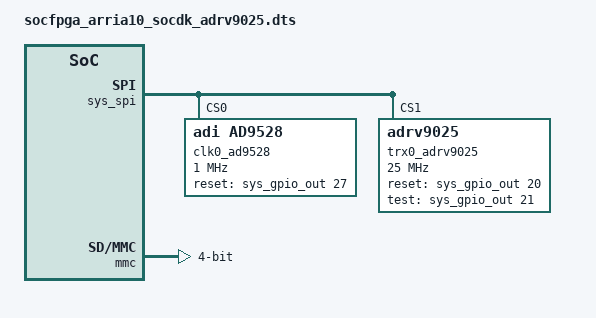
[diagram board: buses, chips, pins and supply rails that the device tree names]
// SPDX-License-Identifier: GPL-2.0
/*
 * Analog Devices ADRV9025
 * https://wiki.analog.com/resources/eval/user-guides/adrv9025
 * https://wiki.analog.com/resources/tools-software/linux-drivers/iio-transceiver/adrv9025
 * https://wiki.analog.com/resources/tools-software/linux-software/adrv9025_advanced_plugin
 *
 * hdl_project: <adrv9026/a10soc>
 * board_revision: <>
 *
 * Copyright (C) 2024 Analog Devices Inc.
 */
/dts-v1/;
#include "socfpga_arria10_socdk.dtsi"
#include <dt-bindings/iio/frequency/ad9528.h>
#include <dt-bindings/iio/adc/adi,adrv9025.h>

&mmc {
	status = "okay";
	num-slots = <1>;
	cap-sd-highspeed;
	broken-cd;
	bus-width = <4>;
	altr,dw-mshc-ciu-div = <3>;
	altr,dw-mshc-sdr-timing = <0 3>;
};

/ {
	clocks {
		sys_clk: sys_clk {
			#clock-cells = <0>;
			compatible = "fixed-clock";
			clock-frequency = <100000000>;
			clock-output-names = "system_clock";
		};

		dma_clk: dma_clk {
			#clock-cells = <0x0>;
			compatible = "fixed-clock";
			clock-frequency = <250000000>;
			clock-output-names = "dma_clk";
		};
	};

	soc {
		sys_hps_bridges: bridge@ff200000 {
			compatible = "simple-bus";
			reg = <0xff200000 0x00200000>;
			#address-cells = <1>;
			#size-cells = <1>;
			ranges = <0x00000000 0xff200000 0x00200000>;

			axi_sysid_0: axi-sysid-0@18000 {
				compatible = "adi,axi-sysid-1.00.a";
				reg = <0x00018000 0x8000>;
			};

			sys_gpio_out: gpio@20 {
				compatible = "altr,pio-1.0";
				reg = <0x00000020 0x00000010>;
				resetvalue = <0>;
				#gpio-cells = <2>;
				gpio-controller;
			};

			sys_spi: spi@40 {
				compatible = "altr,spi-1.0";
				reg = <0x00000040 0x00000020>;
				interrupt-parent = <&intc>;
				interrupts = <0 26 4>;
				#address-cells = <0x1>;
				#size-cells = <0x0>;

				clk0_ad9528: ad9528-1@0 {
					compatible = "adi,ad9528";
					reg = <0>;

					#address-cells = <1>;
					#size-cells = <0>;

					spi-max-frequency = <1000000>;
					//adi,spi-3wire-enable;

					reset-gpios = <&sys_gpio_out 27 0>;

					clock-output-names = "ad9528-1_out0", "ad9528-1_out1", "ad9528-1_out2",
						"ad9528-1_out3", "ad9528-1_out4", "ad9528-1_out5", "ad9528-1_out6",
						"ad9528-1_out7", "ad9528-1_out8", "ad9528-1_out9", "ad9528-1_out10",
						"ad9528-1_out11", "ad9528-1_out12", "ad9528-1_out13";
					#clock-cells = <1>;

					jesd204-device;
					#jesd204-cells = <2>;
					jesd204-sysref-provider;

					adi,vcxo-freq = <122880000>;

					adi,refa-enable;
					adi,refa-diff-rcv-enable;
					adi,refa-r-div = <1>;

					/* PLL1 config */
					adi,pll1-feedback-div = <4>;
					adi,pll1-charge-pump-current-nA = <5000>;

					/* PLL2 config */
					adi,pll2-vco-div-m1 = <3>; /* use 5 for 184320000 output device clock */
					adi,pll2-n2-div = <10>; /* N / M1 */
					adi,pll2-r1-div = <1>;
					adi,pll2-charge-pump-current-nA = <805000>;

					/* SYSREF config */
					adi,sysref-src = <SYSREF_SRC_INTERNAL>;
					adi,sysref-pattern-mode = <SYSREF_PATTERN_CONTINUOUS>;
					adi,sysref-k-div = <512>;
					adi,jesd204-desired-sysref-frequency-hz = <3840000>;

					adi,rpole2 = <RPOLE2_900_OHM>;
					adi,rzero = <RZERO_1850_OHM>;
					adi,cpole1 = <CPOLE1_16_PF>;

					adi,status-mon-pin0-function-select = <1>; /* PLL1 & PLL2 Locked */
					adi,status-mon-pin1-function-select = <7>; /* REFA Correct */

					ad9528_0_c0: channel@0 {
						reg = <0>;
						adi,extended-name = "DEV_SYSREF";
						adi,driver-mode = <DRIVER_MODE_LVDS>;
						adi,divider-phase = <0>;
						adi,channel-divider = <5>;
						adi,signal-source = <SOURCE_SYSREF_VCO>;
					};

					ad9528_0_c1: channel@1 {
						reg = <1>;
						adi,extended-name = "DEV_CLK";
						adi,driver-mode = <DRIVER_MODE_LVDS>;
						adi,divider-phase = <0>;
						adi,channel-divider = <5>;
						adi,signal-source = <SOURCE_VCO>;
						adi,output-dis;
					};

					ad9528_0_c3: channel@3 {
						reg = <3>;
						adi,extended-name = "CORE_CLK";
						adi,driver-mode = <DRIVER_MODE_LVDS>;
						adi,divider-phase = <0>;
						adi,channel-divider = <5>;
						adi,signal-source = <SOURCE_VCO>;
						adi,output-dis;
					};

					ad9528_0_c12: channel@12 {
						reg = <12>;
						adi,extended-name = "FMC_SYSREF";
						adi,driver-mode = <DRIVER_MODE_LVDS>;
						adi,divider-phase = <0>;
						adi,channel-divider = <5>;
						adi,signal-source = <SOURCE_SYSREF_VCO>;
					};

					ad9528_0_c13: channel@13 {
						reg = <13>;
						adi,extended-name = "FMC_CLK";
						adi,driver-mode = <DRIVER_MODE_LVDS>;
						adi,divider-phase = <0>;
						adi,channel-divider = <5>;
						adi,signal-source = <SOURCE_VCO>;
						adi,output-dis;
					};
				};

				trx0_adrv9025: adrv9025-phy@1 {
					compatible = "adrv9025";
					reg = <1>;

					#address-cells = <1>;
					#size-cells = <0>;

					/* SPI Setup */
					spi-max-frequency = <25000000>;

					reset-gpios = <&sys_gpio_out 20 0>;
					test-gpios = <&sys_gpio_out 21 0>;

					/* Clocks */
					clocks = <&clk0_ad9528 1>;

					clock-names = "dev_clk";

					clock-output-names = "rx_sampl_clk", "tx_sampl_clk";
					#clock-cells = <1>;

					jesd204-device;
					#jesd204-cells = <2>;
					jesd204-top-device = <0>; /* This is the TOP device */
					jesd204-link-ids = <DEFRAMER0_LINK_TX FRAMER0_LINK_RX>;

					jesd204-inputs =
						<&axi_adrv9025_rx_jesd 0 FRAMER0_LINK_RX>,
						<&axi_adrv9025_core_tx 0 DEFRAMER0_LINK_TX>;

					adi,device-profile-name = "ActiveUseCase.profile";
					adi,init-profile-name = "ActiveUtilInit.profile";
					adi,arm-firmware-name = "ADRV9025_FW.bin;ADRV9025_DPDCORE_FW.bin";
					adi,stream-firmware-name = "stream_image_6E3E00EFB74FE7D465FA88A171B81B8F.bin";
					adi,rx-gaintable-names = "ADRV9025_RxGainTable.csv";
					adi,rx-gaintable-channel-masks = <0xFF>;
					adi,tx-attntable-names = "ADRV9025_TxAttenTable.csv";
					adi,tx-attntable-channel-masks = <0x0F>;
				};

			};

			axi_adrv9025_adxcvr_tx: axi-adxcvr-tx@24000 {
				compatible = "adi,altera-adxcvr-1.00.a";
				reg = <0x00024000 0x00001000>,
					<0x00028000 0x00001000>,
					<0x0002a000 0x00001000>,
					<0x0002c000 0x00001000>,
					<0x0002e000 0x00001000>,
					<0x00030000 0x00001000>;
				reg-names = "adxcvr", "atx-pll", "adxcfg-0", "adxcfg-1", "adxcfg-2", "adxcfg-3";

				clocks = <&clk0_ad9528 13>, <&clk0_ad9528 3>;
				clock-names = "ref", "link";

				#clock-cells = <0>;
				clock-output-names = "jesd204_tx_lane_clock";

				jesd204-device;
				#jesd204-cells = <2>;
				jesd204-inputs =  <&clk0_ad9528 0 DEFRAMER0_LINK_TX>;
			};

			axi_adrv9025_adxcvr_rx: axi-adxcvr-rx@34000 {
				compatible = "adi,altera-adxcvr-1.00.a";
				reg = <0x00044000 0x00001000>,
					<0x00048000 0x00001000>,
					<0x0004a000 0x00001000>,
					<0x00058000 0x00001000>,
					<0x0005a000 0x00001000>;
				reg-names = "adxcvr", "adxcfg-0", "adxcfg-1", "adxcfg-2", "adxcfg-3";

				clocks = <&clk0_ad9528 13>, <&clk0_ad9528 3>;
				clock-names = "ref", "link";

				#clock-cells = <0>;
				clock-output-names = "jesd204_rx_lane_clock";

				jesd204-device;
				#jesd204-cells = <2>;
				jesd204-inputs =  <&clk0_ad9528 0 FRAMER0_LINK_RX>;
			};

			axi_adrv9025_tx_jesd: axi-jesd204-tx@20000 {
				compatible = "adi,axi-jesd204-tx-1.0";
				reg = <0x00020000 0x4000>;

				interrupt-parent = <&intc>;
				interrupts = <0 33 4>;

				clocks = <&sys_clk>, <&clk0_ad9528 3>, <&axi_adrv9025_adxcvr_tx 0>;
				clock-names = "s_axi_aclk", "device_clk", "lane_clk";

				#clock-cells = <0>;
				clock-output-names = "jesd_tx_lane_clk";

				jesd204-device;
				#jesd204-cells = <2>;
				jesd204-inputs = <&axi_adrv9025_adxcvr_tx 0 DEFRAMER0_LINK_TX>;

			};

			axi_adrv9025_rx_jesd: axi-jesd204-rx@40000 {
				compatible = "adi,axi-jesd204-rx-1.0";
				reg = <0x00040000 0x4000>;

				interrupt-parent = <&intc>;
				interrupts = <0 32 4>;

				clocks = <&sys_clk>, <&clk0_ad9528 3>, <&axi_adrv9025_adxcvr_rx 0>;
				clock-names = "s_axi_aclk", "device_clk", "lane_clk";

				#clock-cells = <0>;
				clock-output-names = "jesd_rx_lane_clk";

				jesd204-device;
				#jesd204-cells = <2>;
				jesd204-inputs = <&axi_adrv9025_adxcvr_rx 0 FRAMER0_LINK_RX>;
			};

			axi_adrv9025_core_tx: axi-adrv9025-tx-hpc@64000 {
				compatible = "adi,axi-adrv9025-tx-1.0";
				reg = <0x00064000 0x4000>;
				dmas = <&tx_dma 0>;
				dma-names = "tx";
				clocks = <&trx0_adrv9025 1>;
				clock-names = "sampl_clk";

				jesd204-device;
				#jesd204-cells = <2>;
				jesd204-inputs = <&axi_adrv9025_tx_jesd 0 DEFRAMER0_LINK_TX>;
			};

			axi_adrv9025_core_rx: axi-adrv9025-rx-hpc@60000 {
				compatible = "adi,axi-adc-10.0.a";
				reg = <0x00060000 0x8000>;
				dmas = <&rx_dma 0>;
				dma-names = "rx";
				spibus-connected = <&trx0_adrv9025>;
			};

			tx_dma: tx-dmac@32000 {
				compatible = "adi,axi-dmac-1.00.a";
				reg = <0x00032000 0x00004000>;
				interrupt-parent = <&intc>;
				interrupts = <0 31 IRQ_TYPE_LEVEL_HIGH>;
				#dma-cells = <1>;
				clocks = <&dma_clk>;
			};

			rx_dma: rx-dmac@4c000 {
				compatible = "adi,axi-dmac-1.00.a";
				reg = <0x0004c000 0x00004000>;
				interrupt-parent = <&intc>;
				interrupts = <0 30 IRQ_TYPE_LEVEL_HIGH>;
				#dma-cells = <1>;
				clocks = <&dma_clk>;
			};
		};
	};
};
